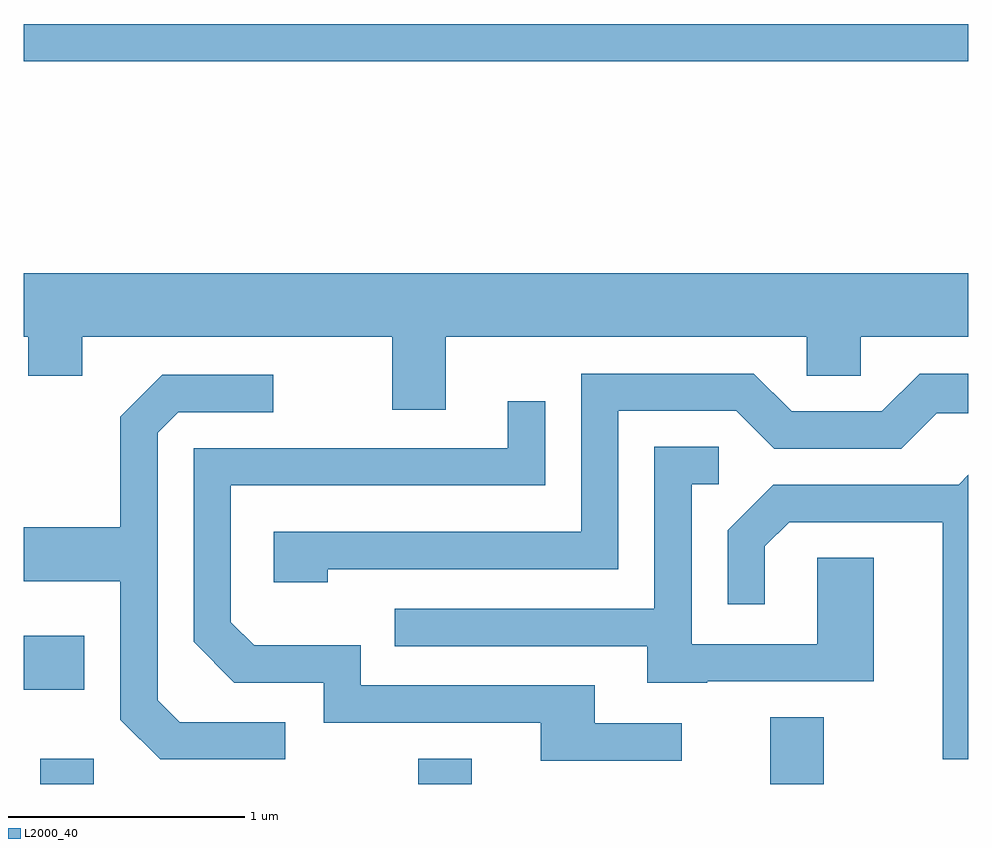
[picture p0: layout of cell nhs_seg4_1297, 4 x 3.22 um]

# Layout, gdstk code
import gdstk
lib = gdstk.Library(unit=1e-6, precision=1e-09)
def R(c, l, rs):  # rectangles x0, y0, x1, y1
    for r in rs: c.add(gdstk.rectangle(r[:2], r[2:], *l))
def P(c, l, *ps):  # polygons
    for p in ps: c.add(gdstk.Polygon(p, *l))
L2000_40 = (2000, 40)

nhs_seg4_1297 = lib.new_cell('nhs_seg4_1297')
R(nhs_seg4_1297, L2000_40, [(223.681,1263.982,223.909,1264.089), (225.281,1263.982,225.509,1264.089), (226.771,1263.982,226.999,1264.264), (223.611,1264.381,223.869,1264.609), (223.611,1267.041,227.611,1267.199)])
P(nhs_seg4_1297, L2000_40, [(225.399,1265.876),(226.926,1265.876),(226.926,1265.711),(227.154,1265.711),(227.154,1265.876),(227.611,1265.876),(227.611,1266.144),(223.611,1266.144),(223.611,1265.876),(223.631,1265.876),(223.631,1265.711),(223.859,1265.711),(223.859,1265.876),(225.171,1265.876),(225.171,1265.566),(225.399,1265.566)],
  [(224.899,1264.891),(226.129,1264.891),(226.129,1265.561),(226.629,1265.561),(226.789,1265.401),(227.327,1265.401),(227.477,1265.551),(227.611,1265.551),(227.611,1265.719),(227.404,1265.719),(227.244,1265.559),(226.862,1265.559),(226.702,1265.719),(225.971,1265.719),(225.971,1265.049),(224.671,1265.049),(224.671,1264.836),(224.899,1264.836)],
  [(224.718,1264.244),(224.272,1264.244),(224.179,1264.337),(224.179,1265.469),(224.267,1265.556),(224.668,1265.556),(224.668,1265.714),(224.199,1265.714),(224.021,1265.537),(224.021,1265.069),(223.611,1265.069),(223.611,1264.841),(224.021,1264.841),(224.021,1264.254),(224.189,1264.086),(224.718,1264.086)],
  [(226.398,1264.239),(226.029,1264.239),(226.029,1264.399),(225.039,1264.399),(225.039,1264.569),(224.587,1264.569),(224.489,1264.667),(224.489,1265.246),(225.819,1265.246),(225.819,1265.603),(225.661,1265.603),(225.661,1265.404),(224.331,1265.404),(224.331,1264.584),(224.504,1264.411),(224.881,1264.411),(224.881,1264.241),(225.801,1264.241),(225.801,1264.081),(226.398,1264.081)],
  [(226.505,1264.416),(227.209,1264.416),(227.209,1264.939),(226.971,1264.939),(226.971,1264.574),(226.439,1264.574),(226.439,1265.251),(226.553,1265.251),(226.553,1265.409),(226.281,1265.409),(226.281,1264.724),(225.183,1264.724),(225.183,1264.566),(226.251,1264.566),(226.251,1264.411),(226.505,1264.411)],
  [(227.611,1265.291),(227.569,1265.249),(226.784,1265.249),(226.591,1265.057),(226.591,1264.743),(226.749,1264.743),(226.749,1264.989),(226.852,1265.091),(227.501,1265.091),(227.501,1264.086),(227.611,1264.086)])

lib.write_gds('nhs_seg4_1297.gds')
